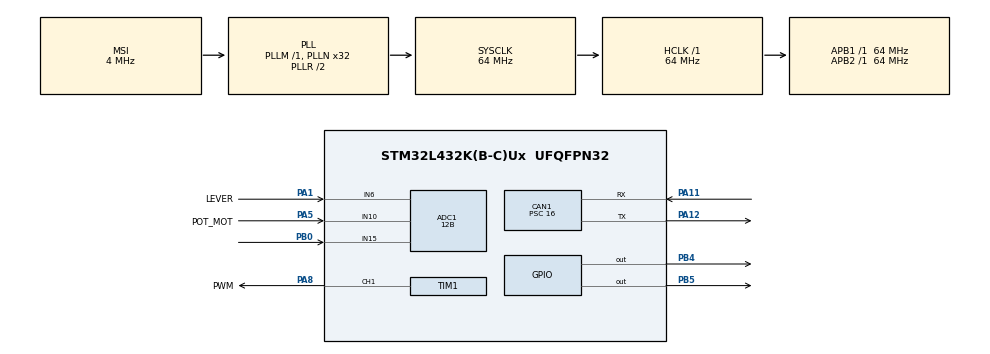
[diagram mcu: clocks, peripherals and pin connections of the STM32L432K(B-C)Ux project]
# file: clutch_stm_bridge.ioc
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ADC1.Channel-0\#ChannelRegularConversion=ADC_CHANNEL_6
ADC1.Channel-1\#ChannelRegularConversion=ADC_CHANNEL_10
ADC1.Channel-2\#ChannelRegularConversion=ADC_CHANNEL_15
ADC1.ClockPrescaler=ADC_CLOCK_SYNC_PCLK_DIV4
ADC1.ContinuousConvMode=ENABLE
ADC1.DMAContinuousRequests=ENABLE
ADC1.DiscontinuousConvMode=DISABLE
ADC1.NbrOfConversion=3
ADC1.NbrOfConversionFlag=1
ADC1.OffsetNumber-0\#ChannelRegularConversion=ADC_OFFSET_NONE
ADC1.OffsetNumber-1\#ChannelRegularConversion=ADC_OFFSET_NONE
ADC1.OffsetNumber-2\#ChannelRegularConversion=ADC_OFFSET_NONE
ADC1.Rank-0\#ChannelRegularConversion=1
ADC1.Rank-1\#ChannelRegularConversion=2
ADC1.Rank-2\#ChannelRegularConversion=3
ADC1.Resolution=ADC_RESOLUTION_12B
ADC1.SamplingTime-0\#ChannelRegularConversion=ADC_SAMPLETIME_47CYCLES_5
ADC1.SamplingTime-1\#ChannelRegularConversion=ADC_SAMPLETIME_47CYCLES_5
ADC1.SamplingTime-2\#ChannelRegularConversion=ADC_SAMPLETIME_47CYCLES_5
ADC1.master=1
CAN1.BS1=CAN_BS1_2TQ
CAN1.CalculateBaudRate=1000000
CAN1.CalculateTimeBit=1000
CAN1.CalculateTimeQuantum=250.0
CAN1.Prescaler=16
Dma.ADC1.0.Direction=DMA_PERIPH_TO_MEMORY
Dma.ADC1.0.Instance=DMA1_Channel1
Dma.ADC1.0.MemDataAlignment=DMA_MDATAALIGN_HALFWORD
Dma.ADC1.0.MemInc=DMA_MINC_ENABLE
Dma.ADC1.0.Mode=DMA_CIRCULAR
Dma.ADC1.0.PeriphDataAlignment=DMA_PDATAALIGN_HALFWORD
Dma.ADC1.0.PeriphInc=DMA_PINC_DISABLE
Dma.ADC1.0.Priority=DMA_PRIORITY_LOW
Dma.Request0=ADC1
Mcu.Family=STM32L4
Mcu.Name=STM32L432K(B-C)Ux
Mcu.Package=UFQFPN32
NVIC.DMA1_Channel1_IRQn=true\:0\:0\:false\:false\:true\:false\:true\:true
NVIC.PriorityGroup=NVIC_PRIORITYGROUP_4
NVIC.TIM1_BRK_TIM15_IRQn=true\:0\:0\:false\:false\:true\:true\:true\:true
NVIC.TIM1_UP_TIM16_IRQn=true\:0\:0\:false\:false\:true\:true\:true\:true
NVIC.TIM6_DAC_IRQn=true\:0\:0\:false\:false\:true\:true\:true\:true
NVIC.TIM7_IRQn=true\:0\:0\:false\:false\:true\:true\:true\:true
PA1.GPIO_Label=LEVER
PA1.Signal=ADCx_IN6
PA11.Mode=CAN_Activate
PA11.Signal=CAN1_RX
PA12.Mode=CAN_Activate
PA12.Signal=CAN1_TX
PA5.GPIO_Label=POT_MOT
PA5.Signal=ADCx_IN10
PA8.GPIO_Label=PWM
PA8.Signal=S_TIM1_CH1
PB0.Signal=ADCx_IN15
PB4\ (NJTRST).Signal=GPIO_Output
PB5.Signal=GPIO_Output
ProjectManager.HeapSize=0x200
ProjectManager.StackSize=0x400
ProjectManager.TargetToolchain=STM32CubeIDE
RCC.ADCFreq_Value=8000000
RCC.AHBFreq_Value=64000000
RCC.APB1Freq_Value=64000000
RCC.APB1TimFreq_Value=64000000
RCC.APB2Freq_Value=64000000
RCC.APB2TimFreq_Value=64000000
RCC.CortexFreq_Value=64000000
RCC.HCLKFreq_Value=64000000
RCC.HSE_VALUE=8000000
RCC.HSI48_VALUE=48000000
RCC.HSI_VALUE=16000000
RCC.LSE_VALUE=32768
RCC.MSI_VALUE=4000000
RCC.PLLN=32
RCC.PLLSAI1N=16
RCC.PLLSAI1R=RCC_PLLR_DIV8
RCC.SYSCLKFreq_VALUE=64000000
RCC.SYSCLKSource=RCC_SYSCLKSOURCE_PLLCLK
RCC.USBFreq_Value=32000000
RCC.VCOOutputFreq_Value=128000000
SH.ADCx_IN10.0=ADC1_IN10,IN10-Single-Ended
SH.ADCx_IN15.0=ADC1_IN15,IN15-Single-Ended
SH.ADCx_IN6.0=ADC1_IN6,IN6-Single-Ended
SH.S_TIM1_CH1.0=TIM1_CH1,PWM Generation1 CH1
TIM1.Channel-PWM\ Generation1\ CH1=TIM_CHANNEL_1
TIM1.Period=100-1
TIM1.Prescaler=80-1
TIM1.Pulse-PWM\ Generation1\ CH1=50
TIM6.Period=400
TIM6.Prescaler=8000-1
TIM7.Period=40 - 1
TIM7.Prescaler=100 - 1
VP_TIM1_VS_ClockSourceINT.Mode=Internal
VP_TIM6_VS_ClockSourceINT.Mode=Enable_Timer
VP_TIM7_VS_ClockSourceINT.Mode=Enable_Timer
board=custom

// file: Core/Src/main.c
/* USER CODE BEGIN Header */
/**
  ******************************************************************************
  * @file           : main.c
  * @brief          : Main program body
  ******************************************************************************
  * @attention
  *
  * Copyright (c) 2022 STMicroelectronics.
  * All rights reserved.
  *
  * This software is licensed under terms that can be found in the LICENSE file
  * in the root directory of this software component.
  * If no LICENSE file comes with this software, it is provided AS-IS.
  *
  ******************************************************************************
  */
/* USER CODE END Header */
#include "main.h"

/* USER CODE BEGIN Includes */
#include <stdbool.h>
//#include "can.h"
/* USER CODE END Includes */

/* USER CODE BEGIN PD */
#define POT 1
#define LEVER 0
#define CURRENT 2
/* USER CODE END PD */

 ADC_HandleTypeDef hadc1;
DMA_HandleTypeDef hdma_adc1;

CAN_HandleTypeDef hcan1;

TIM_HandleTypeDef htim1;
TIM_HandleTypeDef htim6;
TIM_HandleTypeDef htim7;

void SystemClock_Config(void);
static void MX_GPIO_Init(void);
static void MX_DMA_Init(void);
static void MX_ADC1_Init(void);
static void MX_TIM1_Init(void);
static void MX_TIM7_Init(void);
static void MX_CAN1_Init(void);
static void MX_TIM6_Init(void);

/* USER CODE BEGIN 0 */
float lever;
float potMot;
float errorPos;
int delay;
int tick;
extern float voltageTarget;
float currentError;

bool engage = false;
DrivingMode mode = MANUAL;
//PID POSIZIONE
const PIDSaturation saturations1 = {
		min: 1.10f,
		max: 1.90f,
};

const PIDParameters parameters1 = {
	p: 7.53f * 3.0f * 3.0f,
	i: 8.6f * 3.0f,
	d: 1.4f * 1.5f,
};

PID pid1;

const PIDSaturation saturations2 = {
		min: 0.3f,
		max: 0.7f,
};

const PIDParameters parameters2 = {
	p: 0.08f,
	i: 0.08f * 1050.0f,
	d: 0.0f,
};

PID pid2;

const float sampleTime = 1.0f / 16000.0f;
const float tau = 1.0f/14565.0f;

//CLUTCH
const ClutchIndexes indexes = {
	motorPotentiometer: POT,
	lever: LEVER,
	current: CURRENT,
};

Clutch clutch;
int s;
// ADC arrays
AdcValue ADC_values[BUFFER_LENGTH];
/* USER CODE END 0 */

int main(void)
{
  /* USER CODE BEGIN 1 */
	lever = 0;
	potMot = 0;
	errorPos = 0;
	tick = 0;

  /* USER CODE END 1 */

  /* MCU Configuration--------------------------------------------------------*/

  /* Reset of all peripherals, Initializes the Flash interface and the Systick. */
  HAL_Init();

  /* Configure the system clock */
  SystemClock_Config();

  /* Initialize all configured peripherals */
  MX_GPIO_Init();
  MX_DMA_Init();
  MX_ADC1_Init();
  MX_TIM1_Init();
  MX_TIM7_Init();
  MX_CAN1_Init();
  MX_TIM6_Init();
  /* USER CODE BEGIN 2 */

  /*if (MMR_CAN_BasicSetupAndStart(&hcan1) != HAL_OK) {
    Error_Handler();
  }*/

  pid1 = PIDInit(
	  saturations1,
	  parameters1,
	  sampleTime,
	  tau
  );

  pid2 = PIDInit(
	  saturations2,
	  parameters2,
	  sampleTime,
	  tau
  );

  ClutchPID clutchPID = {
	  pid1: &pid1,
	  pid2: &pid2,
  };

  clutch = clutchInit(indexes, clutchPID, ADC_values);
  setDrivingMode(&clutch, mode);

  HAL_ADC_Start_DMA(&hadc1, (uint16_t *)ADC_values, BUFFER_LENGTH);

  HAL_TIM_Base_Start(&htim1); // TIM1 Start
  HAL_TIM_PWM_Start(&htim1, TIM_CHANNEL_1); // PWM Start on TIM1
  HAL_TIM_Base_Start_IT(&htim7); // PID Sampling timer start
  HAL_TIM_Base_Start_IT(&htim6);
  /*
  CanRxBuffer buffer = {};
  MmrCanMessage message = {
		  .store = buffer
  };
  uint32_t start = uwTick;

  //HAL_GPIO_WritePin(GPIOB, GPIO_PIN_1, GPIO_PIN_SET);
  /* USER CODE END 2 */

  /* Infinite loop */
  /* USER CODE BEGIN WHILE */
  while (1)
  {
	  /*uint8_t pendingMessages = HAL_CAN_GetRxFifoFillLevel(&hcan1, MMR_CAN_RX_FIFO);

	  if (pendingMessages <= 0) {
		  continue;
	  }

	  if (MMR_CAN_Receive(&hcan1, &message) != HAL_OK) {
		  ;
	  }

	  volatile int id = message.header.messageId;

	  continue;*/
    /* USER CODE END WHILE */

    /* USER CODE BEGIN 3 */

		//currentError = voltageTarget - current;

	  /*MmrCanPacket packetOpenClutch = {
			  .header.messageId = MMR_CAN_MESSAGE_ID_CS_CLUTCH_PULL_OK,
	  };

	  MmrCanPacket packetEngagedClutch = {
			  .header.messageId = MMR_CAN_MESSAGE_ID_CS_CLUTCH_RELEASE_OK,
	  };

	  //AUTONOMOUS

	  if(clutch.measuredAngle < OPEN_CLUTCH_ANGLE + 0.1f && clutch.inProgress && !engage) {
		  if(clutch.mode == AUTONOMOUS) {
			  MMR_CAN_Send(&hcan1, packetOpenClutch);
			  clutch.inProgress = false;
		  }
	  }

	  if(clutch.measuredAngle > ENGAGED_CLUTCH_ANGLE - 0.25f && clutch.inProgress && engage) {
		  if(clutch.mode == AUTONOMOUS) {
			  MMR_CAN_Send(&hcan1, packetEngagedClutch);
			  clutch.inProgress = false;
		  }
	  }

	  //MANUAL

	  if(clutch.measuredAngle < OPEN_CLUTCH_ANGLE + 0.1f && uwTick - start >= 100) {
		  start = uwTick;
		  if(clutch.mode == MANUAL) {
			  MMR_CAN_Send(&hcan1, packetOpenClutch);
		  }
	  }

	  if(clutch.measuredAngle > ENGAGED_CLUTCH_ANGLE - 0.25f && uwTick - start >= 100) {
		  start = uwTick;
		  if(clutch.mode == MANUAL) {
			  MMR_CAN_Send(&hcan1, packetEngagedClutch);
		  }
	  }

	  /*
	  //LEVER
	  if(clutch.targetAngle < OPEN_CLUTCH_ANGLE + 0.1f && uwTick - start >= 100) {
		  start = uwTick;
		  if(clutch.mode == MANUAL) {
			  MMR_CAN_Send(&hcan1, packetOpenClutch);
		  }
	  }

	  if(clutch.targetAngle > ENGAGED_CLUTCH_ANGLE - 0.25f && uwTick - start >= 100) {
		  start = uwTick;
		  if(clutch.mode == MANUAL) {
			  MMR_CAN_Send(&hcan1, packetEngagedClutch);
		  }
	  }*/

	  uint32_t messages = HAL_CAN_GetRxFifoFillLevel(&hcan1, MMR_CAN_RX_FIFO);

	  if(messages > 0) {
		  if(MMR_CAN_Receive(&hcan1, &message) != HAL_OK) {
			  Error_Handler();
		  }

		  switch(message.header.messageId) {
		  	  case MMR_CAN_MESSAGE_ID_CS_CLUTCH_PULL:
				  setDrivingMode(&clutch, AUTONOMOUS);
				  engage = false;
				  clutch.inProgress = true;
		  		  break;

		  	  case MMR_CAN_MESSAGE_ID_CS_CLUTCH_RELEASE:
				  setDrivingMode(&clutch, AUTONOMOUS);
				  engage = true;
				  clutch.inProgress = true;
		  		  break;

		  	  case MMR_CAN_MESSAGE_ID_CS_CLUTCH_SET_MANUAL:
				  setDrivingMode(&clutch, MANUAL);
				  clutch.inProgress = false;
		  		  break;
		  }

	  }*/

	  potMot = clutch.measuredAngle;
	  lever = clutch.targetAngle;
  }
  /* USER CODE END 3 */
}

void SystemClock_Config(void)
{
  RCC_OscInitTypeDef RCC_OscInitStruct = {0};
  RCC_ClkInitTypeDef RCC_ClkInitStruct = {0};

  /** Configure the main internal regulator output voltage
  */
  if (HAL_PWREx_ControlVoltageScaling(PWR_REGULATOR_VOLTAGE_SCALE1) != HAL_OK)
  {
    Error_Handler();
  }

  /** Initializes the RCC Oscillators according to the specified parameters
  * in the RCC_OscInitTypeDef structure.
  */
  RCC_OscInitStruct.OscillatorType = RCC_OSCILLATORTYPE_MSI;
  RCC_OscInitStruct.MSIState = RCC_MSI_ON;
  RCC_OscInitStruct.MSICalibrationValue = 0;
  RCC_OscInitStruct.MSIClockRange = RCC_MSIRANGE_6;
  RCC_OscInitStruct.PLL.PLLState = RCC_PLL_ON;
  RCC_OscInitStruct.PLL.PLLSource = RCC_PLLSOURCE_MSI;
  RCC_OscInitStruct.PLL.PLLM = 1;
  RCC_OscInitStruct.PLL.PLLN = 32;
  RCC_OscInitStruct.PLL.PLLP = RCC_PLLP_DIV7;
  RCC_OscInitStruct.PLL.PLLQ = RCC_PLLQ_DIV2;
  RCC_OscInitStruct.PLL.PLLR = RCC_PLLR_DIV2;
  if (HAL_RCC_OscConfig(&RCC_OscInitStruct) != HAL_OK)
  {
    Error_Handler();
  }

  /** Initializes the CPU, AHB and APB buses clocks
  */
  RCC_ClkInitStruct.ClockType = RCC_CLOCKTYPE_HCLK|RCC_CLOCKTYPE_SYSCLK
                              |RCC_CLOCKTYPE_PCLK1|RCC_CLOCKTYPE_PCLK2;
  RCC_ClkInitStruct.SYSCLKSource = RCC_SYSCLKSOURCE_PLLCLK;
  RCC_ClkInitStruct.AHBCLKDivider = RCC_SYSCLK_DIV1;
  RCC_ClkInitStruct.APB1CLKDivider = RCC_HCLK_DIV1;
  RCC_ClkInitStruct.APB2CLKDivider = RCC_HCLK_DIV1;

  if (HAL_RCC_ClockConfig(&RCC_ClkInitStruct, FLASH_LATENCY_3) != HAL_OK)
  {
    Error_Handler();
  }
}

static void MX_ADC1_Init(void)
{

  ADC_ChannelConfTypeDef sConfig = {0};

  /** Common config
  */
  hadc1.Instance = ADC1;
  hadc1.Init.ClockPrescaler = ADC_CLOCK_SYNC_PCLK_DIV4;
  hadc1.Init.Resolution = ADC_RESOLUTION_12B;
  hadc1.Init.DataAlign = ADC_DATAALIGN_RIGHT;
  hadc1.Init.ScanConvMode = ADC_SCAN_ENABLE;
  hadc1.Init.EOCSelection = ADC_EOC_SINGLE_CONV;
  hadc1.Init.LowPowerAutoWait = DISABLE;
  hadc1.Init.ContinuousConvMode = ENABLE;
  hadc1.Init.NbrOfConversion = 3;
  hadc1.Init.DiscontinuousConvMode = DISABLE;
  hadc1.Init.ExternalTrigConv = ADC_SOFTWARE_START;
  hadc1.Init.ExternalTrigConvEdge = ADC_EXTERNALTRIGCONVEDGE_NONE;
  hadc1.Init.DMAContinuousRequests = ENABLE;
  hadc1.Init.Overrun = ADC_OVR_DATA_PRESERVED;
  hadc1.Init.OversamplingMode = DISABLE;
  if (HAL_ADC_Init(&hadc1) != HAL_OK)
  {
    Error_Handler();
  }

  /** Configure Regular Channel
  */
  sConfig.Channel = ADC_CHANNEL_6;
  sConfig.Rank = ADC_REGULAR_RANK_1;
  sConfig.SamplingTime = ADC_SAMPLETIME_47CYCLES_5;
  sConfig.SingleDiff = ADC_SINGLE_ENDED;
  sConfig.OffsetNumber = ADC_OFFSET_NONE;
  sConfig.Offset = 0;
  if (HAL_ADC_ConfigChannel(&hadc1, &sConfig) != HAL_OK)
  {
    Error_Handler();
  }

  /** Configure Regular Channel
  */
  sConfig.Channel = ADC_CHANNEL_10;
  sConfig.Rank = ADC_REGULAR_RANK_2;
  if (HAL_ADC_ConfigChannel(&hadc1, &sConfig) != HAL_OK)
  {
    Error_Handler();
  }

  /** Configure Regular Channel
  */
  sConfig.Channel = ADC_CHANNEL_15;
  sConfig.Rank = ADC_REGULAR_RANK_3;
  if (HAL_ADC_ConfigChannel(&hadc1, &sConfig) != HAL_OK)
  {
    Error_Handler();
  }

}

static void MX_CAN1_Init(void)
{

  hcan1.Instance = CAN1;
  hcan1.Init.Prescaler = 16;
  hcan1.Init.Mode = CAN_MODE_NORMAL;
  hcan1.Init.SyncJumpWidth = CAN_SJW_1TQ;
  hcan1.Init.TimeSeg1 = CAN_BS1_2TQ;
  hcan1.Init.TimeSeg2 = CAN_BS2_1TQ;
  hcan1.Init.TimeTriggeredMode = DISABLE;
  hcan1.Init.AutoBusOff = DISABLE;
  hcan1.Init.AutoWakeUp = DISABLE;
  hcan1.Init.AutoRetransmission = DISABLE;
  hcan1.Init.ReceiveFifoLocked = DISABLE;
  hcan1.Init.TransmitFifoPriority = DISABLE;
  if (HAL_CAN_Init(&hcan1) != HAL_OK)
  {
    Error_Handler();
  }

}

static void MX_TIM1_Init(void)
{

  TIM_ClockConfigTypeDef sClockSourceConfig = {0};
  TIM_MasterConfigTypeDef sMasterConfig = {0};
  TIM_OC_InitTypeDef sConfigOC = {0};
  TIM_BreakDeadTimeConfigTypeDef sBreakDeadTimeConfig = {0};

  htim1.Instance = TIM1;
  htim1.Init.Prescaler = 80-1;
  htim1.Init.CounterMode = TIM_COUNTERMODE_UP;
  htim1.Init.Period = 100-1;
  htim1.Init.ClockDivision = TIM_CLOCKDIVISION_DIV1;
  htim1.Init.RepetitionCounter = 0;
  htim1.Init.AutoReloadPreload = TIM_AUTORELOAD_PRELOAD_DISABLE;
  if (HAL_TIM_Base_Init(&htim1) != HAL_OK)
  {
    Error_Handler();
  }
  sClockSourceConfig.ClockSource = TIM_CLOCKSOURCE_INTERNAL;
  if (HAL_TIM_ConfigClockSource(&htim1, &sClockSourceConfig) != HAL_OK)
  {
    Error_Handler();
  }
  if (HAL_TIM_PWM_Init(&htim1) != HAL_OK)
  {
    Error_Handler();
  }
  sMasterConfig.MasterOutputTrigger = TIM_TRGO_RESET;
  sMasterConfig.MasterOutputTrigger2 = TIM_TRGO2_RESET;
  sMasterConfig.MasterSlaveMode = TIM_MASTERSLAVEMODE_DISABLE;
  if (HAL_TIMEx_MasterConfigSynchronization(&htim1, &sMasterConfig) != HAL_OK)
  {
    Error_Handler();
  }
  sConfigOC.OCMode = TIM_OCMODE_PWM1;
  sConfigOC.Pulse = 50;
  sConfigOC.OCPolarity = TIM_OCPOLARITY_HIGH;
  sConfigOC.OCNPolarity = TIM_OCNPOLARITY_HIGH;
  sConfigOC.OCFastMode = TIM_OCFAST_DISABLE;
  sConfigOC.OCIdleState = TIM_OCIDLESTATE_RESET;
  sConfigOC.OCNIdleState = TIM_OCNIDLESTATE_RESET;
  if (HAL_TIM_PWM_ConfigChannel(&htim1, &sConfigOC, TIM_CHANNEL_1) != HAL_OK)
  {
    Error_Handler();
  }
  sBreakDeadTimeConfig.OffStateRunMode = TIM_OSSR_DISABLE;
  sBreakDeadTimeConfig.OffStateIDLEMode = TIM_OSSI_DISABLE;
  sBreakDeadTimeConfig.LockLevel = TIM_LOCKLEVEL_OFF;
  sBreakDeadTimeConfig.DeadTime = 0;
  sBreakDeadTimeConfig.BreakState = TIM_BREAK_DISABLE;
  sBreakDeadTimeConfig.BreakPolarity = TIM_BREAKPOLARITY_HIGH;
  sBreakDeadTimeConfig.BreakFilter = 0;
  sBreakDeadTimeConfig.Break2State = TIM_BREAK2_DISABLE;
  sBreakDeadTimeConfig.Break2Polarity = TIM_BREAK2POLARITY_HIGH;
  sBreakDeadTimeConfig.Break2Filter = 0;
  sBreakDeadTimeConfig.AutomaticOutput = TIM_AUTOMATICOUTPUT_DISABLE;
  if (HAL_TIMEx_ConfigBreakDeadTime(&htim1, &sBreakDeadTimeConfig) != HAL_OK)
  {
    Error_Handler();
  }
  HAL_TIM_MspPostInit(&htim1);

}

static void MX_TIM6_Init(void)
{

  TIM_MasterConfigTypeDef sMasterConfig = {0};

  htim6.Instance = TIM6;
  htim6.Init.Prescaler = 8000-1;
  htim6.Init.CounterMode = TIM_COUNTERMODE_UP;
  htim6.Init.Period = 400;
  htim6.Init.AutoReloadPreload = TIM_AUTORELOAD_PRELOAD_DISABLE;
  if (HAL_TIM_Base_Init(&htim6) != HAL_OK)
  {
    Error_Handler();
  }
  sMasterConfig.MasterOutputTrigger = TIM_TRGO_RESET;
  sMasterConfig.MasterSlaveMode = TIM_MASTERSLAVEMODE_DISABLE;
  if (HAL_TIMEx_MasterConfigSynchronization(&htim6, &sMasterConfig) != HAL_OK)
  {
    Error_Handler();
  }

}

static void MX_TIM7_Init(void)
{

  TIM_MasterConfigTypeDef sMasterConfig = {0};

  htim7.Instance = TIM7;
  htim7.Init.Prescaler = 100 - 1;
  htim7.Init.CounterMode = TIM_COUNTERMODE_UP;
  htim7.Init.Period = 40 - 1;
  htim7.Init.AutoReloadPreload = TIM_AUTORELOAD_PRELOAD_DISABLE;
  if (HAL_TIM_Base_Init(&htim7) != HAL_OK)
  {
    Error_Handler();
  }
  sMasterConfig.MasterOutputTrigger = TIM_TRGO_RESET;
  sMasterConfig.MasterSlaveMode = TIM_MASTERSLAVEMODE_DISABLE;
  if (HAL_TIMEx_MasterConfigSynchronization(&htim7, &sMasterConfig) != HAL_OK)
  {
    Error_Handler();
  }

}

static void MX_DMA_Init(void)
{

  /* DMA controller clock enable */
  __HAL_RCC_DMA1_CLK_ENABLE();

  /* DMA interrupt init */
  /* DMA1_Channel1_IRQn interrupt configuration */
  HAL_NVIC_SetPriority(DMA1_Channel1_IRQn, 0, 0);
  HAL_NVIC_EnableIRQ(DMA1_Channel1_IRQn);

}

static void MX_GPIO_Init(void)
{
  GPIO_InitTypeDef GPIO_InitStruct = {0};

  /* GPIO Ports Clock Enable */
  __HAL_RCC_GPIOA_CLK_ENABLE();
  __HAL_RCC_GPIOB_CLK_ENABLE();

  /*Configure GPIO pin Output Level */
  HAL_GPIO_WritePin(GPIOB, GPIO_PIN_4|GPIO_PIN_5, GPIO_PIN_RESET);

  /*Configure GPIO pins : PB4 PB5 */
  GPIO_InitStruct.Pin = GPIO_PIN_4|GPIO_PIN_5;
  GPIO_InitStruct.Mode = GPIO_MODE_OUTPUT_PP;
  GPIO_InitStruct.Pull = GPIO_NOPULL;
  GPIO_InitStruct.Speed = GPIO_SPEED_FREQ_LOW;
  HAL_GPIO_Init(GPIOB, &GPIO_InitStruct);

}

void Error_Handler(void)
{
  __disable_irq();
  while (1)
  {
  }
}
